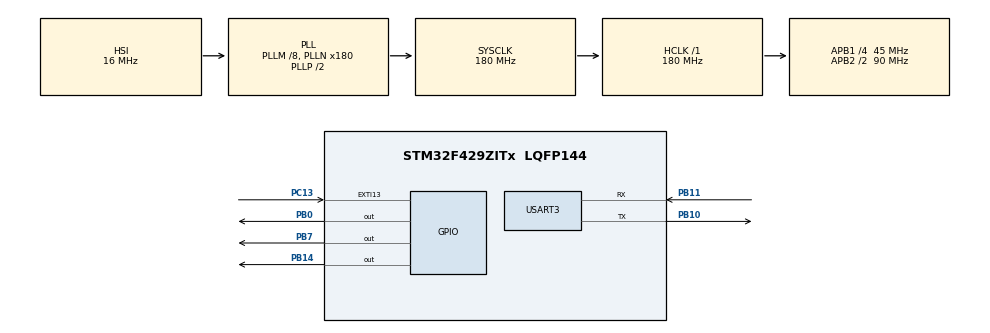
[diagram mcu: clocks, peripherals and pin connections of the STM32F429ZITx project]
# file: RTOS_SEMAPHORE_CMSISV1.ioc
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FREERTOS.BinarySemaphores01=hBinarySem,Dynamic,NULL
FREERTOS.Tasks01=defaultTask,0,128,StartDefaultTask,Default,NULL,Dynamic,NULL,NULL
FREERTOS.configUSE_NEWLIB_REENTRANT=1
Mcu.Family=STM32F4
Mcu.Name=STM32F429ZITx
Mcu.Package=LQFP144
NVIC.EXTI15_10_IRQn=true\:0\:0\:false\:true\:true\:1\:false\:true\:true\:true
NVIC.PriorityGroup=NVIC_PRIORITYGROUP_4
NVIC.TIM5_IRQn=true\:15\:0\:false\:false\:true\:false\:false\:true\:true
NVIC.TimeBase=TIM5_IRQn
NVIC.TimeBaseIP=TIM5
NVIC.USART3_IRQn=true\:5\:0\:false\:true\:true\:2\:true\:true\:true\:true
PA13.Mode=Serial_Wire
PA13.Signal=SYS_JTMS-SWDIO
PA14.Mode=Serial_Wire
PA14.Signal=SYS_JTCK-SWCLK
PB0.Signal=GPIO_Output
PB10.Mode=Asynchronous
PB10.Signal=USART3_TX
PB11.Mode=Asynchronous
PB11.Signal=USART3_RX
PB14.Signal=GPIO_Output
PB7.Signal=GPIO_Output
PC13.Signal=GPXTI13
PC14/OSC32_IN.Mode=LSE-External-Oscillator
PC14/OSC32_IN.Signal=RCC_OSC32_IN
PC15/OSC32_OUT.Mode=LSE-External-Oscillator
PC15/OSC32_OUT.Signal=RCC_OSC32_OUT
ProjectManager.HeapSize=0x200
ProjectManager.StackSize=0x400
ProjectManager.TargetToolchain=STM32CubeIDE
RCC.48MHZClocksFreq_Value=90000000
RCC.AHBFreq_Value=180000000
RCC.APB1CLKDivider=RCC_HCLK_DIV4
RCC.APB1Freq_Value=45000000
RCC.APB1TimFreq_Value=90000000
RCC.APB2CLKDivider=RCC_HCLK_DIV2
RCC.APB2Freq_Value=90000000
RCC.APB2TimFreq_Value=180000000
RCC.CortexFreq_Value=180000000
RCC.HCLKFreq_Value=180000000
RCC.HSE_VALUE=25000000
RCC.HSI_VALUE=16000000
RCC.PLLM=8
RCC.PLLN=180
RCC.RCC_RTC_Clock_Source=RCC_RTCCLKSOURCE_LSE
RCC.SYSCLKFreq_VALUE=180000000
RCC.SYSCLKSource=RCC_SYSCLKSOURCE_PLLCLK
RCC.VCOOutputFreq_Value=360000000
USART3.VirtualMode=VM_ASYNC
VP_FREERTOS_VS_CMSIS_V1.Mode=CMSIS_V1
VP_RTC_VS_RTC_Activate.Mode=RTC_Enabled
VP_SYS_VS_tim5.Mode=TIM5
board=custom

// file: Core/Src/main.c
/* USER CODE BEGIN Header */
/**
  ******************************************************************************
  * @file           : main.c
  * @brief          : Main program body
  ******************************************************************************
  * @attention
  *
  * Copyright (c) 2022 STMicroelectronics.
  * All rights reserved.
  *
  * This software is licensed under terms that can be found in the LICENSE file
  * in the root directory of this software component.
  * If no LICENSE file comes with this software, it is provided AS-IS.
  *
  ******************************************************************************
  */
/* USER CODE END Header */
#include "main.h"
#include "cmsis_os.h"
#include "rtc.h"
#include "usart.h"
#include "gpio.h"

void SystemClock_Config(void);
void MX_FREERTOS_Init(void);
static void MX_NVIC_Init(void);

int main(void)
{

  /* MCU Configuration--------------------------------------------------------*/

  /* Reset of all peripherals, Initializes the Flash interface and the Systick. */
  HAL_Init();

  /* Configure the system clock */
  SystemClock_Config();

  /* Initialize all configured peripherals */

  MX_GPIO_Init();
  MX_RTC_Init();
  MX_USART3_UART_Init();

  /* Initialize interrupts */
  MX_NVIC_Init();

  /* Call init function for freertos objects (in freertos.c) */
  MX_FREERTOS_Init();

  /* Start scheduler */
  osKernelStart();

  /* We should never get here as control is now taken by the scheduler */
  /* Infinite loop */
  while (1)
  {

  }
}

void SystemClock_Config(void)
{
  RCC_OscInitTypeDef RCC_OscInitStruct = {0};
  RCC_ClkInitTypeDef RCC_ClkInitStruct = {0};

  /** Configure the main internal regulator output voltage
  */
  __HAL_RCC_PWR_CLK_ENABLE();
  __HAL_PWR_VOLTAGESCALING_CONFIG(PWR_REGULATOR_VOLTAGE_SCALE1);

  /** Initializes the RCC Oscillators according to the specified parameters
  * in the RCC_OscInitTypeDef structure.
  */
  RCC_OscInitStruct.OscillatorType = RCC_OSCILLATORTYPE_HSI|RCC_OSCILLATORTYPE_LSE;
  RCC_OscInitStruct.LSEState = RCC_LSE_ON;
  RCC_OscInitStruct.HSIState = RCC_HSI_ON;
  RCC_OscInitStruct.HSICalibrationValue = RCC_HSICALIBRATION_DEFAULT;
  RCC_OscInitStruct.PLL.PLLState = RCC_PLL_ON;
  RCC_OscInitStruct.PLL.PLLSource = RCC_PLLSOURCE_HSI;
  RCC_OscInitStruct.PLL.PLLM = 8;
  RCC_OscInitStruct.PLL.PLLN = 180;
  RCC_OscInitStruct.PLL.PLLP = RCC_PLLP_DIV2;
  RCC_OscInitStruct.PLL.PLLQ = 4;
  if (HAL_RCC_OscConfig(&RCC_OscInitStruct) != HAL_OK)
  {
    Error_Handler();
  }

  /** Activate the Over-Drive mode
  */
  if (HAL_PWREx_EnableOverDrive() != HAL_OK)
  {
    Error_Handler();
  }

  /** Initializes the CPU, AHB and APB buses clocks
  */
  RCC_ClkInitStruct.ClockType = RCC_CLOCKTYPE_HCLK|RCC_CLOCKTYPE_SYSCLK
                              |RCC_CLOCKTYPE_PCLK1|RCC_CLOCKTYPE_PCLK2;
  RCC_ClkInitStruct.SYSCLKSource = RCC_SYSCLKSOURCE_PLLCLK;
  RCC_ClkInitStruct.AHBCLKDivider = RCC_SYSCLK_DIV1;
  RCC_ClkInitStruct.APB1CLKDivider = RCC_HCLK_DIV4;
  RCC_ClkInitStruct.APB2CLKDivider = RCC_HCLK_DIV2;

  if (HAL_RCC_ClockConfig(&RCC_ClkInitStruct, FLASH_LATENCY_5) != HAL_OK)
  {
    Error_Handler();
  }
}

/**
  * @brief NVIC Configuration.
  * @retval None
  */
static void MX_NVIC_Init(void)
{
  /* EXTI15_10_IRQn interrupt configuration */
  HAL_NVIC_SetPriority(EXTI15_10_IRQn, 0, 0);
  HAL_NVIC_EnableIRQ(EXTI15_10_IRQn);
  /* USART3_IRQn interrupt configuration */
  HAL_NVIC_SetPriority(USART3_IRQn, 5, 0);
  HAL_NVIC_EnableIRQ(USART3_IRQn);
}

void HAL_TIM_PeriodElapsedCallback(TIM_HandleTypeDef *htim)
{
  if (htim->Instance == TIM5) {
    HAL_IncTick();
  }
}

void Error_Handler(void)
{
  __disable_irq();
  while (1)
  {
  }
}

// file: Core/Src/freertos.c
/* USER CODE BEGIN Header */
/**
  ******************************************************************************
  * File Name          : freertos.c
  * Description        : Code for freertos applications
  ******************************************************************************
  * @attention
  *
  * Copyright (c) 2022 STMicroelectronics.
  * All rights reserved.
  *
  * This software is licensed under terms that can be found in the LICENSE file
  * in the root directory of this software component.
  * If no LICENSE file comes with this software, it is provided AS-IS.
  *
  ******************************************************************************
  */
/* USER CODE END Header */

#include "FreeRTOS.h"
#include "task.h"
#include "main.h"
#include "cmsis_os.h"

/* USER CODE BEGIN Includes */
#include "usart.h"
/* USER CODE END Includes */

osThreadId defaultTaskHandle;
osSemaphoreId hBinarySemHandle;

/* USER CODE BEGIN FunctionPrototypes */
void HAL_GPIO_EXTI_Callback(uint16_t GPIO_Pin)
{
  /* Prevent unused argument(s) compilation warning */
	osSemaphoreRelease(hBinarySemHandle);
}
/* USER CODE END FunctionPrototypes */

void StartDefaultTask(void const * argument);

void MX_FREERTOS_Init(void); /* (MISRA C 2004 rule 8.1) */

/* GetIdleTaskMemory prototype (linked to static allocation support) */
void vApplicationGetIdleTaskMemory( StaticTask_t **ppxIdleTaskTCBBuffer, StackType_t **ppxIdleTaskStackBuffer, uint32_t *pulIdleTaskStackSize );

/* USER CODE BEGIN GET_IDLE_TASK_MEMORY */
static StaticTask_t xIdleTaskTCBBuffer;
static StackType_t xIdleStack[configMINIMAL_STACK_SIZE];

void vApplicationGetIdleTaskMemory( StaticTask_t **ppxIdleTaskTCBBuffer, StackType_t **ppxIdleTaskStackBuffer, uint32_t *pulIdleTaskStackSize )
{
  *ppxIdleTaskTCBBuffer = &xIdleTaskTCBBuffer;
  *ppxIdleTaskStackBuffer = &xIdleStack[0];
  *pulIdleTaskStackSize = configMINIMAL_STACK_SIZE;
  /* place for user code */
}
/* USER CODE END GET_IDLE_TASK_MEMORY */

void MX_FREERTOS_Init(void) {
  /* USER CODE BEGIN Init */
//	  MX_GPIO_Init();
//	  MX_RTC_Init();
//	  MX_USART3_UART_Init();
	  HAL_NVIC_SetPriority(EXTI15_10_IRQn, configLIBRARY_MAX_SYSCALL_INTERRUPT_PRIORITY+1, 0);
	  HAL_NVIC_EnableIRQ(EXTI15_10_IRQn);

//	  HAL_NVIC_SetPriority(USART3_IRQn, 5, 0);
//	  HAL_NVIC_EnableIRQ(USART3_IRQn);
  /* USER CODE END Init */

  /* Create the semaphores(s) */
  /* definition and creation of hBinarySem */
  osSemaphoreDef(hBinarySem);
  hBinarySemHandle = osSemaphoreCreate(osSemaphore(hBinarySem), 1);

  /* Create the thread(s) */
  /* definition and creation of defaultTask */
  osThreadDef(defaultTask, StartDefaultTask, osPriorityNormal, 0, 128);
  defaultTaskHandle = osThreadCreate(osThread(defaultTask), NULL);

}

//void StartDefaultTask(void const * argument)
//{
//  /* USER CODE BEGIN StartDefaultTask */
//  /* Infinite loop */
//  for(;;)
//  {
//    osDelay(1);
//  }
//  /* USER CODE END StartDefaultTask */
//}

/* USER CODE BEGIN Application */
void StartDefaultTask(void const *argument) {
	/* USER CODE BEGIN 5 */
	uint8_t uart_buf[30];
	/* Infinite loop */
	for (;;) {
		if (hBinarySemHandle != NULL) {
			if (osSemaphoreWait(hBinarySemHandle, 0) == osOK) {
				HAL_GPIO_WritePin(GPIOB, GPIO_PIN_7, GPIO_PIN_SET);
				osDelay(100);
				HAL_GPIO_WritePin(GPIOB, GPIO_PIN_7, GPIO_PIN_RESET);

				memset(uart_buf, 0, sizeof(uart_buf));
				sprintf(uart_buf, "\r\nKorea \r\n");
				HAL_UART_Transmit(&huart3, uart_buf, sizeof(uart_buf), 100);
			}
		}

		HAL_GPIO_WritePin(GPIOB, GPIO_PIN_0, GPIO_PIN_SET);
		osDelay(100);
		HAL_GPIO_WritePin(GPIOB, GPIO_PIN_0, GPIO_PIN_RESET);
		osDelay(100);
	}
	/* USER CODE END 5 */
}

/* USER CODE END Application */
